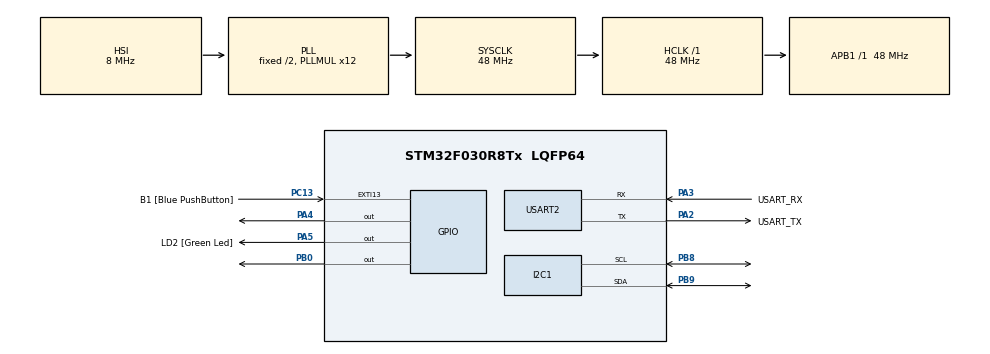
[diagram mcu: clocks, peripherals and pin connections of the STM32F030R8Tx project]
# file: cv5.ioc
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Dma.Request0=USART2_RX
Dma.USART2_RX.0.Direction=DMA_PERIPH_TO_MEMORY
Dma.USART2_RX.0.Instance=DMA1_Channel5
Dma.USART2_RX.0.MemDataAlignment=DMA_MDATAALIGN_BYTE
Dma.USART2_RX.0.MemInc=DMA_MINC_ENABLE
Dma.USART2_RX.0.Mode=DMA_CIRCULAR
Dma.USART2_RX.0.PeriphDataAlignment=DMA_PDATAALIGN_BYTE
Dma.USART2_RX.0.PeriphInc=DMA_PINC_DISABLE
Dma.USART2_RX.0.Priority=DMA_PRIORITY_LOW
Mcu.Family=STM32F0
Mcu.Name=STM32F030R8Tx
Mcu.Package=LQFP64
NVIC.DMA1_Channel4_5_IRQn=true\:0\:0\:false\:false\:true\:false\:true
PA13.GPIO_Label=TMS
PA13.Mode=Serial_Wire
PA13.Signal=SYS_SWDIO
PA14.GPIO_Label=TCK
PA14.Mode=Serial_Wire
PA14.Signal=SYS_SWCLK
PA2.GPIO_Label=USART_TX
PA2.GPIO_Mode=GPIO_MODE_AF_PP
PA2.GPIO_PuPd=GPIO_NOPULL
PA2.GPIO_Speed=GPIO_SPEED_FREQ_LOW
PA2.Mode=Asynchronous
PA2.Signal=USART2_TX
PA3.GPIO_Label=USART_RX
PA3.GPIO_Mode=GPIO_MODE_AF_PP
PA3.GPIO_PuPd=GPIO_NOPULL
PA3.GPIO_Speed=GPIO_SPEED_FREQ_LOW
PA3.Mode=Asynchronous
PA3.Signal=USART2_RX
PA4.Signal=GPIO_Output
PA5.GPIO_Label=LD2 [Green Led]
PA5.GPIO_Mode=GPIO_MODE_OUTPUT_PP
PA5.GPIO_PuPd=GPIO_NOPULL
PA5.GPIO_Speed=GPIO_SPEED_FREQ_LOW
PA5.Signal=GPIO_Output
PB0.Signal=GPIO_Output
PB8.Mode=I2C
PB8.Signal=I2C1_SCL
PB9.Mode=I2C
PB9.Signal=I2C1_SDA
PC13.GPIO_Label=B1 [Blue PushButton]
PC13.GPIO_ModeDefaultEXTI=GPIO_MODE_IT_FALLING
PC13.Signal=GPXTI13
PC14-OSC32_IN.Mode=LSE-External-Oscillator
PC14-OSC32_IN.Signal=RCC_OSC32_IN
PC15-OSC32_OUT.Mode=LSE-External-Oscillator
PC15-OSC32_OUT.Signal=RCC_OSC32_OUT
PF0-OSC_IN.Mode=HSE-External-Clock-Source
PF0-OSC_IN.Signal=RCC_OSC_IN
PF1-OSC_OUT.Signal=RCC_OSC_OUT
ProjectManager.HeapSize=0x200
ProjectManager.StackSize=0x400
ProjectManager.TargetToolchain=STM32CubeIDE
RCC.AHBFreq_Value=48000000
RCC.APB1Freq_Value=48000000
RCC.APB1TimFreq_Value=48000000
RCC.HCLKFreq_Value=48000000
RCC.PLLMUL=RCC_PLL_MUL12
RCC.SYSCLKFreq_VALUE=48000000
RCC.SYSCLKSource=RCC_SYSCLKSOURCE_PLLCLK
USART2.VirtualMode-Asynchronous=VM_ASYNC
board=NUCLEO-F030R8

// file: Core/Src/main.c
/* USER CODE BEGIN Header */
/**
  ******************************************************************************
  * @file           : main.c
  * @brief          : Main program body
  ******************************************************************************
  * @attention
  *
  * <h2><center>&copy; Copyright (c) 2021 STMicroelectronics.
  * All rights reserved.</center></h2>
  *
  * This software component is licensed by ST under BSD 3-Clause license,
  * the "License"; You may not use this file except in compliance with the
  * License. You may obtain a copy of the License at:
  *                        opensource.org/licenses/BSD-3-Clause
  *
  ******************************************************************************
  */
/* USER CODE END Header */
#include "main.h"

/* USER CODE BEGIN Includes */
#include <stdio.h>
#include <stdlib.h>
#include <string.h>
/* USER CODE END Includes */

/* USER CODE BEGIN PM */
#define RX_BUFFER_LEN 64
#define uart_rx_write_ptr (RX_BUFFER_LEN - hdma_usart2_rx.Instance->CNDTR)
#define CMD_BUFFER_LEN 256
#define EEPROM_ADDR 0xA0

/* USER CODE END PM */

I2C_HandleTypeDef hi2c1;

UART_HandleTypeDef huart2;
DMA_HandleTypeDef hdma_usart2_rx;

/* USER CODE BEGIN PV */
static uint8_t uart_rx_buf[RX_BUFFER_LEN];
static volatile uint16_t uart_rx_read_ptr = 0;
/* USER CODE END PV */

void SystemClock_Config(void);
static void MX_GPIO_Init(void);
static void MX_DMA_Init(void);
static void MX_USART2_UART_Init(void);
static void MX_I2C1_Init(void);

/* USER CODE BEGIN 0 */
void uart_process_command(char *cmd)
{
	//printf("prijato: '%s'\n", cmd);
	char *token;
	token = strtok(cmd, " ");

	if (strcasecmp(token, "HELLO") == 0)
	{
	 printf("Komunikace OK\n");
	}
	else if (strcasecmp(token, "LED1") == 0)
	{
		token = strtok(NULL, " ");
		if (strcasecmp(token, "ON") == 0)
		{
			HAL_GPIO_WritePin(GPIOA, GPIO_PIN_4, GPIO_PIN_SET);
		}

		else if (strcasecmp(token, "OFF")==0)
		{
			HAL_GPIO_WritePin(GPIOA, GPIO_PIN_4, GPIO_PIN_RESET);
		}
		printf("OK\n");
	}
	else if (strcasecmp(token, "LED2")== 0)
	{
		token = strtok(NULL, " ");
		if (strcasecmp(token, "ON") == 0)
		{
			HAL_GPIO_WritePin(GPIOB, GPIO_PIN_0, GPIO_PIN_SET);
		}
		else if (strcasecmp(token, "OFF")== 0)
		{
			HAL_GPIO_WritePin(GPIOB, GPIO_PIN_0, GPIO_PIN_RESET);
		}
		printf("OK\n");
	}
	else if(strcasecmp(token, "STATUS")==0)
	{
		uint8_t status1 = 0;
		uint8_t status2 = 0;

		status1 = HAL_GPIO_ReadPin(GPIOA, GPIO_PIN_4);
		status2 = HAL_GPIO_ReadPin(GPIOB, GPIO_PIN_0);

		printf("Led1: %d , Led2: %d \n",  status1, status2);

		//HAL_GPIO_WritePin(GPIOA, GPIO_PIN_4, GPIO_PIN_RESET);
		//HAL_GPIO_WritePin(GPIOB, GPIO_PIN_0, GPIO_PIN_RESET);
	}
	else if(strcasecmp(token, "READ")==0)
	{
		uint8_t addr = 0;
		uint16_t value = 0;

		token = strtok(cmd, " ");
		addr = atoi(addr);

		HAL_I2C_Mem_Read(&hi2c1, EEPROM_ADDR, addr, I2C_MEMADD_SIZE_16BIT, &value, 1, 1000);
		printf("Adresa: 0x%x = 0x%x \n",addr, value);

	}
	else if(strcasecmp(token, "WRITE")==0)
	{
		uint8_t addr = 0;
		uint16_t value = 0;

		token = strtok(cmd, " ");
		addr = atoi(addr);

		HAL_I2C_Mem_Write(&hi2c1, EEPROM_ADDR, addr, I2C_MEMADD_SIZE_16BIT, &value, 1, 1000);
		while (HAL_I2C_IsDeviceReady(&hi2c1, EEPROM_ADDR, 300, 1000) == HAL_TIMEOUT) {}

		printf("write: %d \n",value);

	}
	else if(strcasecmp(token, "DUMP")==0)
	{
		char addr = 0;
		uint8_t value[16];

		token = strtok(cmd, " ");
		addr = atoi(addr);

		HAL_I2C_Mem_Read(&hi2c1, EEPROM_ADDR, addr, I2C_MEMADD_SIZE_16BIT, value, 16, 1000);

		for (uint16_t i = 0; i < 16; i++)
		{

			printf("0x%02x ",value[i]);

			if(i == 7 ||  i == 15)
			{
				printf("\n");
			}

		}
	}

}

static void uart_byte_available(uint8_t c)
{
	static uint16_t cnt;
	static char data[CMD_BUFFER_LEN];
	if (cnt < CMD_BUFFER_LEN && c >= 32 && c <= 126) data[cnt++] = c;
	if ((c == '\n' || c == '\r') && cnt > 0)
	{
		data[cnt] = '\0';
		uart_process_command(data);
		cnt = 0;
	}
}

int _write(int file, char const *buf, int n)
{
	/* stdout redirection to UART2 */
	HAL_UART_Transmit(&huart2, (uint8_t*)(buf), n, HAL_MAX_DELAY);
	return n;
}

/* USER CODE END 0 */

int main(void)
{

  /* MCU Configuration--------------------------------------------------------*/

  /* Reset of all peripherals, Initializes the Flash interface and the Systick. */
  HAL_Init();

  /* Configure the system clock */
  SystemClock_Config();

  /* Initialize all configured peripherals */
  MX_GPIO_Init();
  MX_DMA_Init();
  MX_USART2_UART_Init();
  MX_I2C1_Init();
  /* USER CODE BEGIN 2 */
  HAL_UART_Receive_DMA(&huart2, uart_rx_buf, RX_BUFFER_LEN);
  /* USER CODE END 2 */

  /* Infinite loop */
  while (1)
  {

    /* USER CODE BEGIN 3 */
	//uint8_t c;
	//HAL_UART_Receive(&huart2, &c, 1, HAL_MAX_DELAY);
	//HAL_UART_Transmit(&huart2, &c, 1, HAL_MAX_DELAY);
	  while (uart_rx_read_ptr != uart_rx_write_ptr)
	  {
		  uint8_t b = uart_rx_buf[uart_rx_read_ptr];
		  if (++uart_rx_read_ptr >= RX_BUFFER_LEN) uart_rx_read_ptr = 0; // increase read pointer
		  uart_byte_available(b); // process every received byte with the RX state machine
	  }

  }
  /* USER CODE END 3 */
}

void SystemClock_Config(void)
{
  RCC_OscInitTypeDef RCC_OscInitStruct = {0};
  RCC_ClkInitTypeDef RCC_ClkInitStruct = {0};
  RCC_PeriphCLKInitTypeDef PeriphClkInit = {0};

  /** Initializes the RCC Oscillators according to the specified parameters
  * in the RCC_OscInitTypeDef structure.
  */
  RCC_OscInitStruct.OscillatorType = RCC_OSCILLATORTYPE_HSI;
  RCC_OscInitStruct.HSIState = RCC_HSI_ON;
  RCC_OscInitStruct.HSICalibrationValue = RCC_HSICALIBRATION_DEFAULT;
  RCC_OscInitStruct.PLL.PLLState = RCC_PLL_ON;
  RCC_OscInitStruct.PLL.PLLSource = RCC_PLLSOURCE_HSI;
  RCC_OscInitStruct.PLL.PLLMUL = RCC_PLL_MUL12;
  RCC_OscInitStruct.PLL.PREDIV = RCC_PREDIV_DIV1;
  if (HAL_RCC_OscConfig(&RCC_OscInitStruct) != HAL_OK)
  {
    Error_Handler();
  }
  /** Initializes the CPU, AHB and APB buses clocks
  */
  RCC_ClkInitStruct.ClockType = RCC_CLOCKTYPE_HCLK|RCC_CLOCKTYPE_SYSCLK
                              |RCC_CLOCKTYPE_PCLK1;
  RCC_ClkInitStruct.SYSCLKSource = RCC_SYSCLKSOURCE_PLLCLK;
  RCC_ClkInitStruct.AHBCLKDivider = RCC_SYSCLK_DIV1;
  RCC_ClkInitStruct.APB1CLKDivider = RCC_HCLK_DIV1;

  if (HAL_RCC_ClockConfig(&RCC_ClkInitStruct, FLASH_LATENCY_1) != HAL_OK)
  {
    Error_Handler();
  }
  PeriphClkInit.PeriphClockSelection = RCC_PERIPHCLK_I2C1;
  PeriphClkInit.I2c1ClockSelection = RCC_I2C1CLKSOURCE_HSI;
  if (HAL_RCCEx_PeriphCLKConfig(&PeriphClkInit) != HAL_OK)
  {
    Error_Handler();
  }
}

static void MX_I2C1_Init(void)
{

  hi2c1.Instance = I2C1;
  hi2c1.Init.Timing = 0x2000090E;
  hi2c1.Init.OwnAddress1 = 0;
  hi2c1.Init.AddressingMode = I2C_ADDRESSINGMODE_7BIT;
  hi2c1.Init.DualAddressMode = I2C_DUALADDRESS_DISABLE;
  hi2c1.Init.OwnAddress2 = 0;
  hi2c1.Init.OwnAddress2Masks = I2C_OA2_NOMASK;
  hi2c1.Init.GeneralCallMode = I2C_GENERALCALL_DISABLE;
  hi2c1.Init.NoStretchMode = I2C_NOSTRETCH_DISABLE;
  if (HAL_I2C_Init(&hi2c1) != HAL_OK)
  {
    Error_Handler();
  }
  /** Configure Analogue filter
  */
  if (HAL_I2CEx_ConfigAnalogFilter(&hi2c1, I2C_ANALOGFILTER_ENABLE) != HAL_OK)
  {
    Error_Handler();
  }
  /** Configure Digital filter
  */
  if (HAL_I2CEx_ConfigDigitalFilter(&hi2c1, 0) != HAL_OK)
  {
    Error_Handler();
  }

}

static void MX_USART2_UART_Init(void)
{

  huart2.Instance = USART2;
  huart2.Init.BaudRate = 38400;
  huart2.Init.WordLength = UART_WORDLENGTH_8B;
  huart2.Init.StopBits = UART_STOPBITS_1;
  huart2.Init.Parity = UART_PARITY_NONE;
  huart2.Init.Mode = UART_MODE_TX_RX;
  huart2.Init.HwFlowCtl = UART_HWCONTROL_NONE;
  huart2.Init.OverSampling = UART_OVERSAMPLING_16;
  huart2.Init.OneBitSampling = UART_ONE_BIT_SAMPLE_DISABLE;
  huart2.AdvancedInit.AdvFeatureInit = UART_ADVFEATURE_NO_INIT;
  if (HAL_UART_Init(&huart2) != HAL_OK)
  {
    Error_Handler();
  }

}

static void MX_DMA_Init(void)
{

  /* DMA controller clock enable */
  __HAL_RCC_DMA1_CLK_ENABLE();

  /* DMA interrupt init */
  /* DMA1_Channel4_5_IRQn interrupt configuration */
  HAL_NVIC_SetPriority(DMA1_Channel4_5_IRQn, 0, 0);
  HAL_NVIC_EnableIRQ(DMA1_Channel4_5_IRQn);

}

static void MX_GPIO_Init(void)
{
  GPIO_InitTypeDef GPIO_InitStruct = {0};

  /* GPIO Ports Clock Enable */
  __HAL_RCC_GPIOC_CLK_ENABLE();
  __HAL_RCC_GPIOF_CLK_ENABLE();
  __HAL_RCC_GPIOA_CLK_ENABLE();
  __HAL_RCC_GPIOB_CLK_ENABLE();

  /*Configure GPIO pin Output Level */
  HAL_GPIO_WritePin(GPIOA, GPIO_PIN_4|LD2_Pin, GPIO_PIN_RESET);

  /*Configure GPIO pin Output Level */
  HAL_GPIO_WritePin(GPIOB, GPIO_PIN_0, GPIO_PIN_RESET);

  /*Configure GPIO pin : B1_Pin */
  GPIO_InitStruct.Pin = B1_Pin;
  GPIO_InitStruct.Mode = GPIO_MODE_IT_FALLING;
  GPIO_InitStruct.Pull = GPIO_NOPULL;
  HAL_GPIO_Init(B1_GPIO_Port, &GPIO_InitStruct);

  /*Configure GPIO pins : PA4 LD2_Pin */
  GPIO_InitStruct.Pin = GPIO_PIN_4|LD2_Pin;
  GPIO_InitStruct.Mode = GPIO_MODE_OUTPUT_PP;
  GPIO_InitStruct.Pull = GPIO_NOPULL;
  GPIO_InitStruct.Speed = GPIO_SPEED_FREQ_LOW;
  HAL_GPIO_Init(GPIOA, &GPIO_InitStruct);

  /*Configure GPIO pin : PB0 */
  GPIO_InitStruct.Pin = GPIO_PIN_0;
  GPIO_InitStruct.Mode = GPIO_MODE_OUTPUT_PP;
  GPIO_InitStruct.Pull = GPIO_NOPULL;
  GPIO_InitStruct.Speed = GPIO_SPEED_FREQ_LOW;
  HAL_GPIO_Init(GPIOB, &GPIO_InitStruct);

}

void Error_Handler(void)
{
  __disable_irq();
  while (1)
  {
  }
}

/************************ (C) COPYRIGHT STMicroelectronics *****END OF FILE****/
